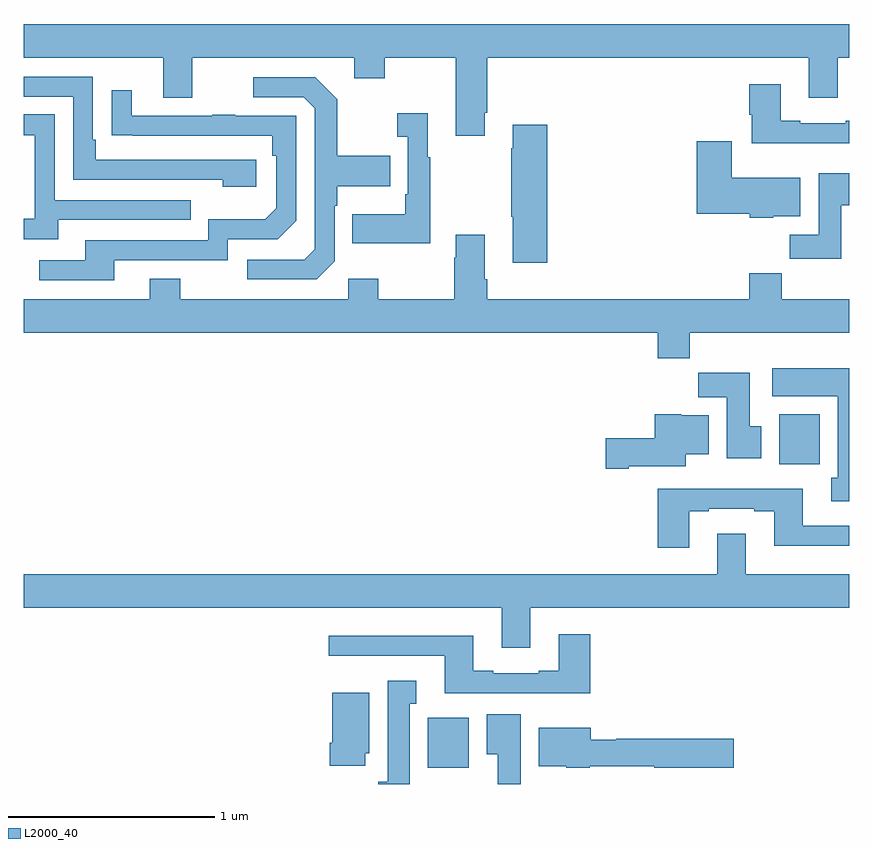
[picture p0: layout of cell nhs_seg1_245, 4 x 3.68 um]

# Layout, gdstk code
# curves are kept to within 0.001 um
import gdstk
lib = gdstk.Library(unit=1e-6, precision=1e-09)
def R(c, l, rs):  # rectangles x0, y0, x1, y1
    for r in rs: c.add(gdstk.rectangle(r[:2], r[2:], *l))
def P(c, l, *ps):  # polygons
    for p in ps: c.add(gdstk.Polygon(p, *l))
L2000_40 = (2000, 40)

nhs_seg1_245 = lib.new_cell('nhs_seg1_245')
R(nhs_seg1_245, L2000_40, [(124.958,564.278,125.155,564.52), (126.659,565.748,126.856,565.99)])
P(nhs_seg1_245, L2000_40, [(125.233,567.451),(125.246,567.451),(125.246,567.716),(126.803,567.716),(126.803,567.522),(126.943,567.522),(126.943,567.716),(127,567.716),(127,567.88),(123,567.88),(123,567.716),(123.677,567.716),(123.677,567.522),(123.817,567.522),(123.817,567.716),(124.601,567.716),(124.601,567.617),(124.749,567.617),(124.749,567.716),(125.093,567.716),(125.093,567.339),(125.233,567.339)],
  [(124.126,567.222),(123.349,567.222),(123.349,567.319),(123.336,567.319),(123.336,567.624),(123,567.624),(123,567.528),(123.24,567.528),(123.24,567.126),(123.965,567.126),(123.965,567.092),(124.126,567.092)],
  [(124.506,566.73),(124.506,566.999),(124.519,566.999),(124.519,567.095),(124.775,567.095),(124.775,567.243),(124.519,567.243),(124.519,567.515),(124.413,567.621),(124.113,567.621),(124.113,567.525),(124.356,567.525),(124.41,567.471),(124.41,566.79),(124.359,566.739),(124.083,566.739),(124.083,566.643),(124.419,566.643)],
  [(127,567.412),(126.983,567.412),(126.983,567.399),(126.763,567.399),(126.763,567.412),(126.667,567.412),(126.667,567.589),(126.515,567.589),(126.515,567.441),(126.527,567.441),(126.527,567.302),(127,567.302)],
  [(123.439,566.736),(123.99,566.736),(123.99,566.838),(124.23,566.838),(124.32,566.928),(124.32,567.435),(124.025,567.435),(124.025,567.44),(123.913,567.44),(123.913,567.435),(123.523,567.435),(123.523,567.559),(123.427,567.559),(123.427,567.34),(124.204,567.339),(124.204,567.242),(124.224,567.242),(124.224,566.988),(124.171,566.935),(123.894,566.935),(123.894,566.832),(123.299,566.832),(123.299,566.736),(123.075,566.736),(123.075,566.64),(123.439,566.64)],
  [(124.969,567.235),(124.957,567.235),(124.957,567.448),(124.809,567.448),(124.809,567.335),(124.86,567.335),(124.86,567.055),(124.848,567.055),(124.848,566.959),(124.591,566.959),(124.591,566.819),(124.969,566.819)],
  [(123.169,566.931),(123.809,566.931),(123.809,567.027),(123.15,567.027),(123.15,567.443),(123,567.443),(123,567.342),(123.054,567.342),(123.054,566.937),(123,566.937),(123,566.837),(123.169,566.837)],
  [(125.537,567.391),(125.369,567.391),(125.369,567.278),(125.362,567.278),(125.362,566.947),(125.369,566.947),(125.369,566.724),(125.537,566.724)],
  [(126.63,566.948),(126.763,566.948),(126.763,567.136),(126.43,567.136),(126.43,567.313),(126.26,567.313),(126.26,566.96),(126.516,566.96),(126.516,566.942),(126.63,566.942)],
  [(126.961,567.001),(127,567.001),(127,567.157),(126.851,567.157),(126.851,566.86),(126.712,566.86),(126.712,566.742),(126.961,566.742)],
  [(126.227,566.384),(127,566.384),(127,566.548),(126.671,566.548),(126.671,566.672),(126.515,566.672),(126.515,566.548),(125.246,566.548),(125.246,566.644),(125.233,566.644),(125.233,566.86),(125.093,566.86),(125.093,566.747),(125.086,566.747),(125.086,566.548),(124.719,566.548),(124.719,566.647),(124.572,566.647),(124.572,566.548),(123.759,566.548),(123.759,566.647),(123.611,566.647),(123.611,566.548),(123,566.548),(123,566.384),(126.071,566.384),(126.071,566.26),(126.227,566.26)],
  [(127,566.212),(126.627,566.212),(126.627,566.078),(126.944,566.078),(126.944,565.682),(126.911,565.682),(126.911,565.569),(127,565.569)],
  [(126.574,565.932),(126.517,565.932),(126.517,566.191),(126.268,566.191),(126.268,566.072),(126.407,566.072),(126.407,565.776),(126.574,565.776)],
  [(125.932,565.739),(126.208,565.739),(126.208,565.796),(126.319,565.796),(126.319,565.984),(126.186,565.984),(126.186,565.99),(126.056,565.99),(126.056,565.874),(125.82,565.874),(125.82,565.727),(125.932,565.727)],
  [(126.223,565.521),(126.319,565.521),(126.319,565.533),(126.539,565.533),(126.539,565.521),(126.635,565.521),(126.635,565.352),(127,565.352),(127,565.449),(126.775,565.449),(126.775,565.63),(126.071,565.63),(126.071,565.344),(126.223,565.344)],
  [(125.455,565.052),(127,565.052),(127,565.216),(126.499,565.216),(126.499,565.411),(126.359,565.411),(126.359,565.216),(123,565.216),(123,565.052),(125.315,565.052),(125.315,564.858),(125.455,564.858)],
  [(125.744,564.925),(125.591,564.925),(125.591,564.748),(125.495,564.748),(125.495,564.735),(125.275,564.735),(125.275,564.748),(125.179,564.748),(125.179,564.916),(124.479,564.916),(124.479,564.819),(125.039,564.819),(125.039,564.639),(125.503,564.639),(125.503,564.638),(125.744,564.638)],
  [(124.87,564.587),(124.903,564.587),(124.903,564.7),(124.763,564.7),(124.763,564.21),(124.718,564.21),(124.718,564.199),(124.87,564.199)],
  [(124.654,564.348),(124.675,564.348),(124.675,564.64),(124.496,564.64),(124.496,564.4),(124.484,564.4),(124.484,564.288),(124.654,564.288)],
  [(125.407,564.538),(125.243,564.538),(125.243,564.344),(125.297,564.344),(125.297,564.199),(125.407,564.199)],
  [(126.439,564.419),(125.871,564.419),(125.871,564.413),(125.746,564.413),(125.746,564.472),(125.495,564.472),(125.495,564.284),(125.628,564.284),(125.628,564.278),(125.742,564.278),(125.742,564.284),(126.054,564.284),(126.054,564.277),(126.439,564.277)])

lib.write_gds('nhs_seg1_245.gds')
